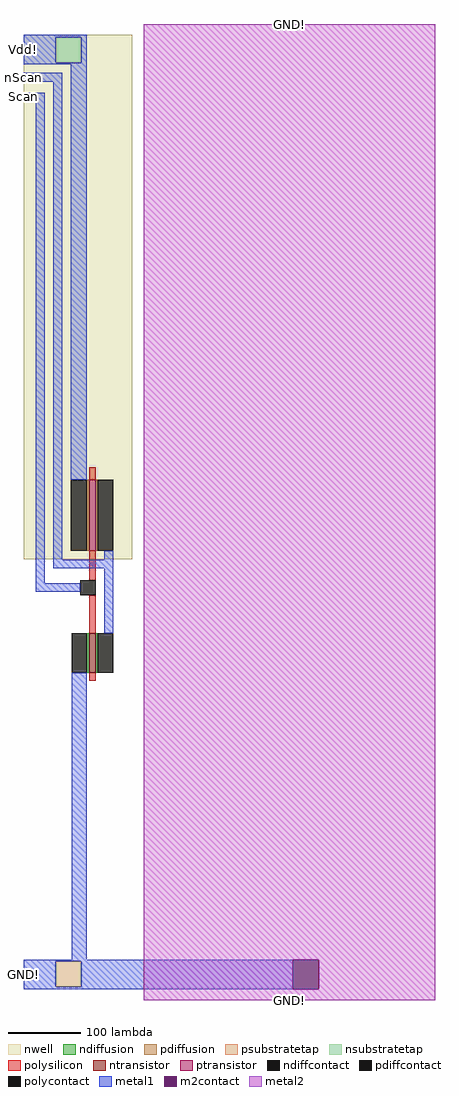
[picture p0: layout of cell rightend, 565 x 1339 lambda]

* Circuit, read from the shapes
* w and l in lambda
.subckt rightend GND! Scan Vdd! nScan
M1 nScan Scan GND! VSUBS nfet w=54 l=9
M2 nScan Scan Vdd! n1 pfet w=98 l=9
.ends

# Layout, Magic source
magic
tech tsmc180
<< nwell >>
rect 0 605 149 1324
<< polysilicon >>
rect 90 714 99 731
rect 90 576 99 616
rect 90 503 99 555
rect 90 438 99 449
<< ndiffusion >>
rect 87 449 90 503
rect 99 449 102 503
<< pdiffusion >>
rect 87 616 90 714
rect 99 616 102 714
<< ntransistor >>
rect 90 449 99 503
<< ptransistor >>
rect 90 616 99 714
<< polycontact >>
rect 78 555 99 576
<< ndiffcontact >>
rect 66 449 87 503
rect 102 449 123 503
<< pdiffcontact >>
rect 65 616 87 714
rect 102 616 123 714
<< psubstratetap >>
rect 44 18 79 53
<< nsubstratetap >>
rect 44 1286 79 1321
<< metal1 >>
rect 0 1321 87 1324
rect 0 1286 44 1321
rect 79 1286 87 1321
rect 0 1284 87 1286
rect 0 1260 53 1272
rect 0 1233 29 1245
rect 17 572 29 1233
rect 41 604 53 1260
rect 65 714 87 1284
rect 111 604 123 616
rect 41 592 123 604
rect 17 560 78 572
rect 111 503 123 592
rect 66 55 87 449
rect 0 53 369 55
rect 0 18 44 53
rect 79 18 369 53
rect 0 15 369 18
<< m2contact >>
rect 369 15 405 55
<< metal2 >>
rect 165 55 565 1339
rect 165 15 369 55
rect 405 15 565 55
rect 165 0 565 15
<< labels >>
rlabel metal1 0 1284 0 1324 3 Vdd!
rlabel metal1 0 1260 0 1272 3 nScan
rlabel metal1 0 1233 0 1245 3 Scan
rlabel metal1 0 15 0 55 3 GND!
rlabel metal2 165 1339 565 1339 5 GND!
rlabel metal2 165 0 565 0 1 GND!
<< end >>
